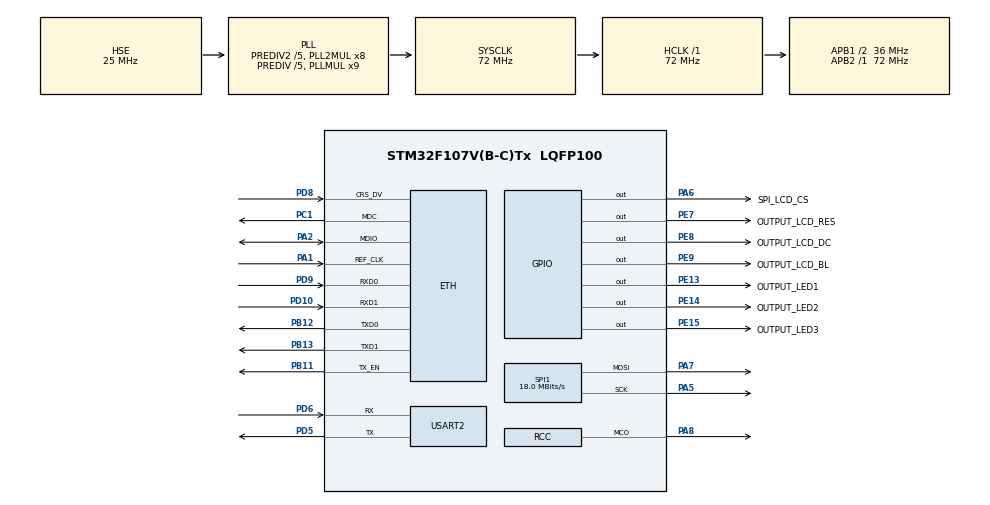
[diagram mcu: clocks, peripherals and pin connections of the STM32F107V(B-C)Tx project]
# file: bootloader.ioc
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Dma.Request0=SPI1_TX
Dma.SPI1_TX.0.Direction=DMA_MEMORY_TO_PERIPH
Dma.SPI1_TX.0.Instance=DMA1_Channel3
Dma.SPI1_TX.0.MemDataAlignment=DMA_MDATAALIGN_BYTE
Dma.SPI1_TX.0.MemInc=DMA_MINC_ENABLE
Dma.SPI1_TX.0.Mode=DMA_NORMAL
Dma.SPI1_TX.0.PeriphDataAlignment=DMA_PDATAALIGN_BYTE
Dma.SPI1_TX.0.PeriphInc=DMA_PINC_DISABLE
Dma.SPI1_TX.0.Priority=DMA_PRIORITY_LOW
ETH.MediaInterface=ETH_MEDIA_INTERFACE_RMII
LWIP.LWIP_NETIF_LINK_CALLBACK=1
LWIP.LWIP_TCP=0
LWIP.LWIP_TFTP=0
LWIP.MEMP_NUM_UDP_PCB=5
LWIP.Version=v2.0.0_Cube
Mcu.Family=STM32F1
Mcu.Name=STM32F107V(B-C)Tx
Mcu.Package=LQFP100
NVIC.DMA1_Channel3_IRQn=true\:0\:0\:false\:false\:true\:false
NVIC.ETH_IRQn=true\:0\:0\:false\:false\:true\:true
NVIC.PriorityGroup=NVIC_PRIORITYGROUP_4
OSC_IN.Mode=HSE-External-Oscillator
OSC_IN.Signal=RCC_OSC_IN
OSC_OUT.Mode=HSE-External-Oscillator
OSC_OUT.Signal=RCC_OSC_OUT
PA1.Mode=RMII
PA1.Signal=ETH_REF_CLK
PA13.Mode=Serial_Wire
PA13.Signal=SYS_JTMS-SWDIO
PA14.Mode=Serial_Wire
PA14.Signal=SYS_JTCK-SWCLK
PA2.Mode=RMII
PA2.Signal=ETH_MDIO
PA5.Mode=TX_Only_Simplex_Unidirect_Master
PA5.Signal=SPI1_SCK
PA6.GPIO_Label=SPI_LCD_CS
PA6.GPIO_Speed=GPIO_SPEED_FREQ_HIGH
PA6.PinState=GPIO_PIN_SET
PA6.Signal=GPIO_Output
PA7.Mode=TX_Only_Simplex_Unidirect_Master
PA7.Signal=SPI1_MOSI
PA8.GPIO_Speed=GPIO_SPEED_FREQ_HIGH
PA8.Mode=Clock-out
PA8.Signal=RCC_MCO
PB11.Mode=RMII
PB11.Signal=ETH_TX_EN
PB12.Mode=RMII
PB12.Signal=ETH_TXD0
PB13.Mode=RMII
PB13.Signal=ETH_TXD1
PC1.Mode=RMII
PC1.Signal=ETH_MDC
PD10.Mode=RMII
PD10.Signal=ETH_RXD1
PD5.Mode=Asynchronous
PD5.Signal=USART2_TX
PD6.Mode=Asynchronous
PD6.Signal=USART2_RX
PD8.Mode=RMII
PD8.Signal=ETH_CRS_DV
PD9.Mode=RMII
PD9.Signal=ETH_RXD0
PE13.GPIO_Label=OUTPUT_LED1
PE13.GPIO_Speed=GPIO_SPEED_FREQ_HIGH
PE13.PinState=GPIO_PIN_SET
PE13.Signal=GPIO_Output
PE14.GPIO_Label=OUTPUT_LED2
PE14.GPIO_Speed=GPIO_SPEED_FREQ_HIGH
PE14.PinState=GPIO_PIN_SET
PE14.Signal=GPIO_Output
PE15.GPIO_Label=OUTPUT_LED3
PE15.GPIO_Speed=GPIO_SPEED_FREQ_HIGH
PE15.PinState=GPIO_PIN_SET
PE15.Signal=GPIO_Output
PE7.GPIO_Label=OUTPUT_LCD_RES
PE7.GPIO_Speed=GPIO_SPEED_FREQ_HIGH
PE7.Signal=GPIO_Output
PE8.GPIO_Label=OUTPUT_LCD_DC
PE8.GPIO_Speed=GPIO_SPEED_FREQ_HIGH
PE8.PinState=GPIO_PIN_SET
PE8.Signal=GPIO_Output
PE9.GPIO_Label=OUTPUT_LCD_BL
PE9.GPIO_Speed=GPIO_SPEED_FREQ_HIGH
PE9.PinState=GPIO_PIN_SET
PE9.Signal=GPIO_Output
ProjectManager.HeapSize=0x200
ProjectManager.StackSize=0x400
ProjectManager.TargetToolchain=MDK-ARM V5
RCC.AHBFreq_Value=72000000
RCC.APB1CLKDivider=RCC_HCLK_DIV2
RCC.APB1Freq_Value=36000000
RCC.APB1TimFreq_Value=72000000
RCC.APB2Freq_Value=72000000
RCC.APB2TimFreq_Value=72000000
RCC.HCLKFreq_Value=72000000
RCC.HSEDivPLL=RCC_HSE_PREDIV_DIV5
RCC.HSE_VALUE=25000000
RCC.PLL3Mul=RCC_PLLI2S_MUL10
RCC.PLLMUL=RCC_PLL_MUL9
RCC.PLLSourceVirtual=RCC_PLLSOURCE_HSE
RCC.Prediv1Source=RCC_PREDIV1_SOURCE_PLL2
RCC.Prediv2=RCC_HSE_PREDIV2_DIV5
RCC.RCC_MCOSource=RCC_MCO1SOURCE_PLL3CLK
RCC.SYSCLKFreq_VALUE=72000000
RCC.SYSCLKSource=RCC_SYSCLKSOURCE_PLLCLK
RCC.USBFreq_Value=48000000
SPI1.BaudRatePrescaler=SPI_BAUDRATEPRESCALER_4
SPI1.CalculateBaudRate=18.0 MBits/s
SPI1.Direction=SPI_DIRECTION_2LINES
SPI1.Mode=SPI_MODE_MASTER
SPI1.VirtualType=VM_MASTER
USART2.VirtualMode=VM_ASYNC
VP_LWIP_VS_Enabled.Mode=Enabled
board=bootloader

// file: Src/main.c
/**
  ******************************************************************************
  * File Name          : main.c
  * Description        : Main program body
  ******************************************************************************
  * This notice applies to any and all portions of this file
  * that are not between comment pairs USER CODE BEGIN and
  * USER CODE END. Other portions of this file, whether
  * inserted by the user or by software development tools
  * are owned by their respective copyright owners.
  *
  * Copyright (c) 2018 STMicroelectronics International N.V.
  * All rights reserved.
  *
  * Redistribution and use in source and binary forms, with or without
  * modification, are permitted, provided that the following conditions are met:
  *
  * 1. Redistribution of source code must retain the above copyright notice,
  *    this list of conditions and the following disclaimer.
  * 2. Redistributions in binary form must reproduce the above copyright notice,
  *    this list of conditions and the following disclaimer in the documentation
  *    and/or other materials provided with the distribution.
  * 3. Neither the name of STMicroelectronics nor the names of other
  *    contributors to this software may be used to endorse or promote products
  *    derived from this software without specific written permission.
  * 4. This software, including modifications and/or derivative works of this
  *    software, must execute solely and exclusively on microcontroller or
  *    microprocessor devices manufactured by or for STMicroelectronics.
  * 5. Redistribution and use of this software other than as permitted under
  *    this license is void and will automatically terminate your rights under
  *    this license.
  *
  * THIS SOFTWARE IS PROVIDED BY STMICROELECTRONICS AND CONTRIBUTORS "AS IS"
  * AND ANY EXPRESS, IMPLIED OR STATUTORY WARRANTIES, INCLUDING, BUT NOT
  * LIMITED TO, THE IMPLIED WARRANTIES OF MERCHANTABILITY, FITNESS FOR A
  * PARTICULAR PURPOSE AND NON-INFRINGEMENT OF THIRD PARTY INTELLECTUAL PROPERTY
  * RIGHTS ARE DISCLAIMED TO THE FULLEST EXTENT PERMITTED BY LAW. IN NO EVENT
  * SHALL STMICROELECTRONICS OR CONTRIBUTORS BE LIABLE FOR ANY DIRECT, INDIRECT,
  * INCIDENTAL, SPECIAL, EXEMPLARY, OR CONSEQUENTIAL DAMAGES (INCLUDING, BUT NOT
  * LIMITED TO, PROCUREMENT OF SUBSTITUTE GOODS OR SERVICES; LOSS OF USE, DATA,
  * OR PROFITS; OR BUSINESS INTERRUPTION) HOWEVER CAUSED AND ON ANY THEORY OF
  * LIABILITY, WHETHER IN CONTRACT, STRICT LIABILITY, OR TORT (INCLUDING
  * NEGLIGENCE OR OTHERWISE) ARISING IN ANY WAY OUT OF THE USE OF THIS SOFTWARE,
  * EVEN IF ADVISED OF THE POSSIBILITY OF SUCH DAMAGE.
  *
  ******************************************************************************
  */

#include "main.h"
#include "stm32f1xx_hal.h"
#include "lwip.h"

/* USER CODE BEGIN Includes */
#include <string.h>
#include "user_io.h"
#include "user_uart.h"
#include "user_boot.h"
#include "user_spi.h"
#include "spi_lcd.h"
#include "spi_lcd_dma.h"
#include "app_ethernet.h"
#include "udp_echoclient.h"
#include "tftpserver.h"
/* USER CODE END Includes */

SPI_HandleTypeDef hspi1;
DMA_HandleTypeDef hdma_spi1_tx;

UART_HandleTypeDef huart2;

/* USER CODE BEGIN PV */
/* Private variables ---------------------------------------------------------*/

/* USER CODE END PV */

void SystemClock_Config(void);
static void MX_GPIO_Init(void);
static void MX_DMA_Init(void);
static void MX_USART2_UART_Init(void);
static void MX_SPI1_Init(void);

/* USER CODE BEGIN PFP */
/* Private function prototypes -----------------------------------------------*/

/* USER CODE END PFP */

/* USER CODE BEGIN 0 */
extern void Lcd_Clear(uint16_t Color);
extern void Lcd_Update(void);
/* USER CODE END 0 */

int main(void)
{

  /* USER CODE BEGIN 1 */
	uint32_t UpdateTimeoutTimer = 0u;
	user_boot();
  /* USER CODE END 1 */

  /* MCU Configuration----------------------------------------------------------*/

  /* Reset of all peripherals, Initializes the Flash interface and the Systick. */
  HAL_Init();

  /* Configure the system clock */
  SystemClock_Config();

  /* Initialize all configured peripherals */
  MX_GPIO_Init();
  MX_DMA_Init();
  MX_USART2_UART_Init();
  MX_SPI1_Init();
  MX_LWIP_Init();

  /* USER CODE BEGIN 2 */
  user_io_init();
  user_uart_init();
  user_spi_init();
  spi_lcd_init();
#ifdef USE_SPI_LCD_DMA
  fb_init();
#endif
  udp_echoclient_connect();
  IAP_tftpd_init();
  User_notification(&gnetif);
//  user_boot();
  /* USER CODE END 2 */

  /* Infinite loop */
  while (1)
  {

  /* USER CODE BEGIN 3 */
	  MX_LWIP_Process();
#ifdef USE_SPI_LCD_DMA
	fb_update();
#endif
	if (HAL_GetTick() - UpdateTimeoutTimer >= 3*60*1000)
	{
		HAL_NVIC_SystemReset();
		while(1);
	}
  }
  /* USER CODE END 3 */

}

/** System Clock Configuration
*/
void SystemClock_Config(void)
{

  RCC_OscInitTypeDef RCC_OscInitStruct;
  RCC_ClkInitTypeDef RCC_ClkInitStruct;

    /**Initializes the CPU, AHB and APB busses clocks
    */
  RCC_OscInitStruct.OscillatorType = RCC_OSCILLATORTYPE_HSE;
  RCC_OscInitStruct.HSEState = RCC_HSE_ON;
  RCC_OscInitStruct.HSEPredivValue = RCC_HSE_PREDIV_DIV5;
  RCC_OscInitStruct.HSIState = RCC_HSI_ON;
  RCC_OscInitStruct.Prediv1Source = RCC_PREDIV1_SOURCE_PLL2;
  RCC_OscInitStruct.PLL.PLLState = RCC_PLL_ON;
  RCC_OscInitStruct.PLL.PLLSource = RCC_PLLSOURCE_HSE;
  RCC_OscInitStruct.PLL.PLLMUL = RCC_PLL_MUL9;
  RCC_OscInitStruct.PLL2.PLL2State = RCC_PLL2_ON;
  RCC_OscInitStruct.PLL2.PLL2MUL = RCC_PLL2_MUL8;
  RCC_OscInitStruct.PLL2.HSEPrediv2Value = RCC_HSE_PREDIV2_DIV5;
  if (HAL_RCC_OscConfig(&RCC_OscInitStruct) != HAL_OK)
  {
    _Error_Handler(__FILE__, __LINE__);
  }

    /**Initializes the CPU, AHB and APB busses clocks
    */
  RCC_ClkInitStruct.ClockType = RCC_CLOCKTYPE_HCLK|RCC_CLOCKTYPE_SYSCLK
                              |RCC_CLOCKTYPE_PCLK1|RCC_CLOCKTYPE_PCLK2;
  RCC_ClkInitStruct.SYSCLKSource = RCC_SYSCLKSOURCE_PLLCLK;
  RCC_ClkInitStruct.AHBCLKDivider = RCC_SYSCLK_DIV1;
  RCC_ClkInitStruct.APB1CLKDivider = RCC_HCLK_DIV2;
  RCC_ClkInitStruct.APB2CLKDivider = RCC_HCLK_DIV1;

  if (HAL_RCC_ClockConfig(&RCC_ClkInitStruct, FLASH_LATENCY_2) != HAL_OK)
  {
    _Error_Handler(__FILE__, __LINE__);
  }

  HAL_RCC_MCOConfig(RCC_MCO, RCC_MCO1SOURCE_PLL3CLK, RCC_MCODIV_1);

    /**Configure the Systick interrupt time
    */
  HAL_SYSTICK_Config(HAL_RCC_GetHCLKFreq()/1000);

    /**Configure the Systick
    */
  HAL_SYSTICK_CLKSourceConfig(SYSTICK_CLKSOURCE_HCLK);

    /**Configure the Systick interrupt time
    */
  __HAL_RCC_HSE_PREDIV2_CONFIG(RCC_HSE_PREDIV2_DIV5);

    /**Configure the Systick interrupt time
    */
  __HAL_RCC_PLLI2S_CONFIG(RCC_PLLI2S_MUL10);

    /**Configure the Systick interrupt time
    */
  __HAL_RCC_PLLI2S_ENABLE();

  /* SysTick_IRQn interrupt configuration */
  HAL_NVIC_SetPriority(SysTick_IRQn, 0, 0);
}

/* SPI1 init function */
static void MX_SPI1_Init(void)
{

  /* SPI1 parameter configuration*/
  hspi1.Instance = SPI1;
  hspi1.Init.Mode = SPI_MODE_MASTER;
  hspi1.Init.Direction = SPI_DIRECTION_2LINES;
  hspi1.Init.DataSize = SPI_DATASIZE_8BIT;
  hspi1.Init.CLKPolarity = SPI_POLARITY_LOW;
  hspi1.Init.CLKPhase = SPI_PHASE_1EDGE;
  hspi1.Init.NSS = SPI_NSS_SOFT;
  hspi1.Init.BaudRatePrescaler = SPI_BAUDRATEPRESCALER_4;
  hspi1.Init.FirstBit = SPI_FIRSTBIT_MSB;
  hspi1.Init.TIMode = SPI_TIMODE_DISABLE;
  hspi1.Init.CRCCalculation = SPI_CRCCALCULATION_DISABLE;
  hspi1.Init.CRCPolynomial = 10;
  if (HAL_SPI_Init(&hspi1) != HAL_OK)
  {
    _Error_Handler(__FILE__, __LINE__);
  }

}

/* USART2 init function */
static void MX_USART2_UART_Init(void)
{

  huart2.Instance = USART2;
  huart2.Init.BaudRate = 115200;
  huart2.Init.WordLength = UART_WORDLENGTH_8B;
  huart2.Init.StopBits = UART_STOPBITS_1;
  huart2.Init.Parity = UART_PARITY_NONE;
  huart2.Init.Mode = UART_MODE_TX_RX;
  huart2.Init.HwFlowCtl = UART_HWCONTROL_NONE;
  huart2.Init.OverSampling = UART_OVERSAMPLING_16;
  if (HAL_UART_Init(&huart2) != HAL_OK)
  {
    _Error_Handler(__FILE__, __LINE__);
  }

}

static void MX_DMA_Init(void)
{
  /* DMA controller clock enable */
  __HAL_RCC_DMA1_CLK_ENABLE();

  /* DMA interrupt init */
  /* DMA1_Channel3_IRQn interrupt configuration */
  HAL_NVIC_SetPriority(DMA1_Channel3_IRQn, 0, 0);
  HAL_NVIC_EnableIRQ(DMA1_Channel3_IRQn);

}

/** Configure pins as
        * Analog
        * Input
        * Output
        * EVENT_OUT
        * EXTI
     PA8   ------> RCC_MCO
*/
static void MX_GPIO_Init(void)
{

  GPIO_InitTypeDef GPIO_InitStruct;

  /* GPIO Ports Clock Enable */
  __HAL_RCC_GPIOC_CLK_ENABLE();
  __HAL_RCC_GPIOA_CLK_ENABLE();
  __HAL_RCC_GPIOE_CLK_ENABLE();
  __HAL_RCC_GPIOB_CLK_ENABLE();
  __HAL_RCC_GPIOD_CLK_ENABLE();

  /*Configure GPIO pin Output Level */
  HAL_GPIO_WritePin(SPI_LCD_CS_GPIO_Port, SPI_LCD_CS_Pin, GPIO_PIN_SET);

  /*Configure GPIO pin Output Level */
  HAL_GPIO_WritePin(OUTPUT_LCD_RES_GPIO_Port, OUTPUT_LCD_RES_Pin, GPIO_PIN_RESET);

  /*Configure GPIO pin Output Level */
  HAL_GPIO_WritePin(GPIOE, OUTPUT_LCD_DC_Pin|OUTPUT_LCD_BL_Pin|OUTPUT_LED1_Pin|OUTPUT_LED2_Pin
                          |OUTPUT_LED3_Pin, GPIO_PIN_SET);

  /*Configure GPIO pin : SPI_LCD_CS_Pin */
  GPIO_InitStruct.Pin = SPI_LCD_CS_Pin;
  GPIO_InitStruct.Mode = GPIO_MODE_OUTPUT_PP;
  GPIO_InitStruct.Speed = GPIO_SPEED_FREQ_HIGH;
  HAL_GPIO_Init(SPI_LCD_CS_GPIO_Port, &GPIO_InitStruct);

  /*Configure GPIO pins : OUTPUT_LCD_RES_Pin OUTPUT_LCD_DC_Pin OUTPUT_LCD_BL_Pin OUTPUT_LED1_Pin
                           OUTPUT_LED2_Pin OUTPUT_LED3_Pin */
  GPIO_InitStruct.Pin = OUTPUT_LCD_RES_Pin|OUTPUT_LCD_DC_Pin|OUTPUT_LCD_BL_Pin|OUTPUT_LED1_Pin
                          |OUTPUT_LED2_Pin|OUTPUT_LED3_Pin;
  GPIO_InitStruct.Mode = GPIO_MODE_OUTPUT_PP;
  GPIO_InitStruct.Speed = GPIO_SPEED_FREQ_HIGH;
  HAL_GPIO_Init(GPIOE, &GPIO_InitStruct);

  /*Configure GPIO pin : PA8 */
  GPIO_InitStruct.Pin = GPIO_PIN_8;
  GPIO_InitStruct.Mode = GPIO_MODE_AF_PP;
  GPIO_InitStruct.Speed = GPIO_SPEED_FREQ_HIGH;
  HAL_GPIO_Init(GPIOA, &GPIO_InitStruct);

}

void _Error_Handler(char * file, int line)
{
  while(1)
  {
  }
}

/************************ (C) COPYRIGHT STMicroelectronics *****END OF FILE****/
